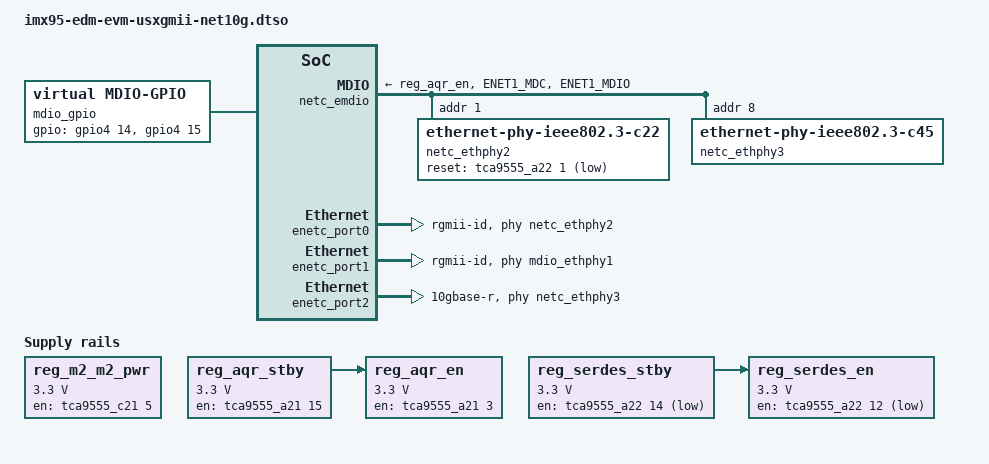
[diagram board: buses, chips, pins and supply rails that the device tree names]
// SPDX-License-Identifier: (GPL-2.0 OR MIT)
/**
 * Device Tree Overlay for NXP i.MX95 EDM EVM - 10G Networking
 *
 * Copyright 2026 TechNexion Ltd.
 *
 * Author: Ray Chang <ray.chang@technexion.com>,
 *         Jack Lo <jack.lo@technexion.com>
 *
 */

/dts-v1/;
/plugin/;
#include "../imx95-pinfunc.h"
#include <dt-bindings/gpio/gpio.h>

&ethphy1 {
	status = "disabled";
};


&i3c2 {
	status = "disabled";
};

&{/} {
	reg_m2_m2_pwr: regulator-m2-m2-pwr {
		compatible = "regulator-fixed";
		enable-active-high;
		regulator-always-on;
		regulator-max-microvolt = <3300000>;
		regulator-min-microvolt = <3300000>;
		regulator-name = "M.2_M2 slot-power";
		/* M2_M2_PWR_EN */
		gpio = <&tca9555_c21 5 GPIO_ACTIVE_HIGH>;
	};

	reg_aqr_stby: regulator-aqr-stby {
		compatible = "regulator-fixed";
		regulator-name = "aqr-stby";
		regulator-min-microvolt = <3300000>;
		regulator-max-microvolt = <3300000>;
		gpio = <&tca9555_a21 15 GPIO_ACTIVE_HIGH>;
		enable-active-high;
	};

	reg_aqr_en: regulator-aqr-en {
		compatible = "regulator-fixed";
		regulator-name = "aqr-en";
		regulator-min-microvolt = <3300000>;
		regulator-max-microvolt = <3300000>;
		vin-supply = <&reg_aqr_stby>;
		gpio = <&tca9555_a21 3 GPIO_ACTIVE_HIGH>;
		enable-active-high;
	};

	reg_serdes_stby: regulator-mac-stby {
		compatible = "regulator-fixed";
		regulator-name = "mac-stby";
		regulator-min-microvolt = <3300000>;
		regulator-max-microvolt = <3300000>;
		gpio = <&tca9555_a22 14 GPIO_ACTIVE_LOW>;
	};

	reg_serdes_en: regulator-mac-en {
		compatible = "regulator-fixed";
		regulator-name = "mac-en";
		regulator-min-microvolt = <3300000>;
		regulator-max-microvolt = <3300000>;
		vin-supply = <&reg_serdes_stby>;
		gpio = <&tca9555_a22 12 GPIO_ACTIVE_LOW>;
	};

	mdio_gpio: mdio {
		compatible = "virtual,mdio-gpio";
		#size-cells = <0>;
		#address-cells = <1>;
		gpios = <&gpio4 14 GPIO_ACTIVE_HIGH>, /* enet2 mdc */
			<&gpio4 15 GPIO_ACTIVE_HIGH>; /* enet2 mdio */
		pinctrl-0 = <&pinctrl_enet2_gpio_mdio>;
		pinctrl-names = "default";

		mdio_ethphy1: ethernet-phy@1 {
			reg = <1>;
			/* RTL8211F on SOM */
			compatible = "ethernet-phy-ieee802.3-c22";
			eee-broken-1000t;
			reset-assert-us = <35000>;
			reset-deassert-us = <75000>;
			reset-gpios = <&tca9555_a22 2 GPIO_ACTIVE_LOW>;
			realtek,aldps-disable;
			realtek,clkout-disable;
		};
	};
};

&netc_emdio {
	#size-cells = <0>;
	#address-cells = <1>;
	pinctrl-0 = <&pinctrl_enet1_netc_mdio>;
	pinctrl-names = "default";
	status = "okay";
	phy-supply = <&reg_aqr_en>;

	netc_ethphy2: ethernet-phy2@1 {
		reg = <1>;
		/* RTL8211F on baseboard */
		compatible = "ethernet-phy-ieee802.3-c22";
		eee-broken-1000t;
		reset-assert-us = <35000>;
		reset-deassert-us = <75000>;
		reset-gpios = <&tca9555_a22 1 GPIO_ACTIVE_LOW>;
		realtek,aldps-disable;
		realtek,clkout-disable;
	};

	netc_ethphy3: ethernet-phy@8 {
		/* AQR113C on M2 */
		reg = <8>;
		compatible = "ethernet-phy-ieee802.3-c45";
	};
};

&enetc_port0 {
	/* RTL8211F on baseboard */
	pinctrl-names = "default";
	phy-handle = <&netc_ethphy2>;
	phy-mode = "rgmii-id";
	pinctrl-0 = <&pinctrl_enetc0>;
	status = "okay";
};

&enetc_port1 {
	/* RTL8211F on baseboard */
	pinctrl-names = "default";
	pinctrl-0 = <&pinctrl_enetc1>;
	phy-handle = <&mdio_ethphy1>;
	phy-mode = "rgmii-id";
	status = "okay";
};

&enetc_port2 {
	/* AQR113C on M2 */
	phy-handle = <&netc_ethphy3>;
	phy-mode = "10gbase-r";
	serdes-supply = <&reg_serdes_en>;
	managed = "in-band-status";
	status = "okay";
};

&scmi_iomuxc {
	pinctrl_enet1_netc_mdio: emdio1grp1 {
		fsl,pins = <
			IMX95_PAD_ENET1_MDC__NETCMIX_TOP_NETC_MDC		0x57e
			IMX95_PAD_ENET1_MDIO__NETCMIX_TOP_NETC_MDIO		0x97e
		>;
	};

	pinctrl_enet2_gpio_mdio: mdiogpiogrp2 {
		fsl,pins = <
			IMX95_PAD_ENET2_MDC__GPIO4_IO_BIT14			0x57e
			IMX95_PAD_ENET2_MDIO__GPIO4_IO_BIT15		0x97e
		>;
	};
};

